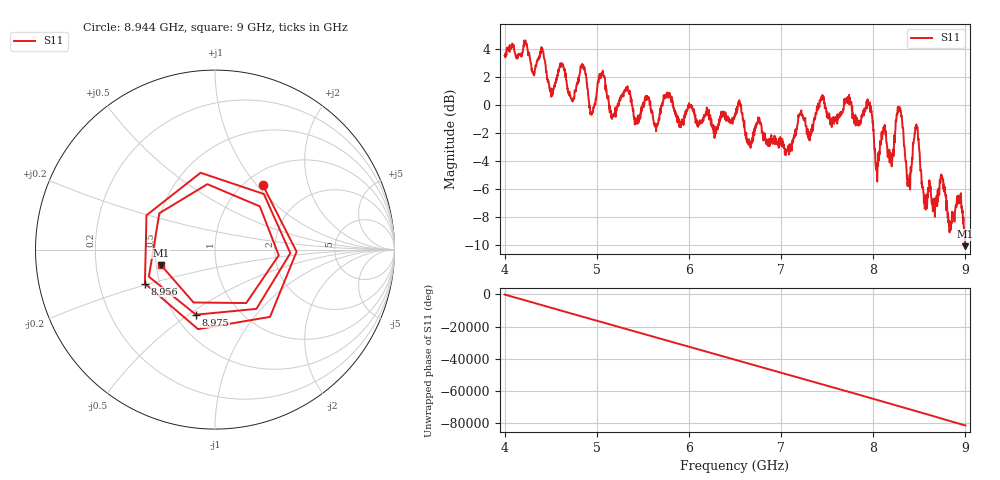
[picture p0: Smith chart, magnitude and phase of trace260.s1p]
! Created with skrf 1.8.0 (http://scikit-rf.org).
# Hz S RI R 50.0
!freq ReS11 ImS11
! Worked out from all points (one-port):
!   1601 points, 4 GHz to 9 GHz, reference 50 ohm
!   lowest |S11| = -10.1 dB at 9 GHz (marker M1), VSWR 1.91, Z = 26.5 - j5.03 ohm
!   |S11| at or under -10 dB: 8.998187 GHz to end of sweep
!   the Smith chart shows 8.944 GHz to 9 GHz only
!   S11 on the Smith chart (normalised r, x): 8.944 GHz: 1.20, +1.08; 8.956 GHz: 0.41, -0.19; 8.975 GHz: 0.63, -0.54; 9 GHz: 0.53, -0.10
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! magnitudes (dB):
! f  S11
! 4 GHz  3.5
! 4.409 GHz  4.0
! 4.509 GHz  0.8
! 4.625 GHz  2.9
! 4.731 GHz  0.3
! 4.856 GHz  2.6
! 4.944 GHz  -0.6
! 5.047 GHz  1.9
! 5.162 GHz  -0.9
! 5.25 GHz  0.4
! 5.875 GHz  -1.1
! 6.5 GHz  -0.7
! 6.653 GHz  -2.5
! 7.125 GHz  -2.5
! 7.444 GHz  0.7
! 7.75 GHz  0.3
! 7.962 GHz  0.2
! 8.044 GHz  -5.5
! 8.112 GHz  -1.6
! 8.2 GHz  -4.4
! 8.288 GHz  -0.2
! 8.375 GHz  -5.5
! 8.466 GHz  -1.4
! 8.562 GHz  -7.3
! 8.944 GHz  -7.0
! 8.956 GHz  -7.3
! 8.975 GHz  -8.5
! 9 GHz  -10.1
